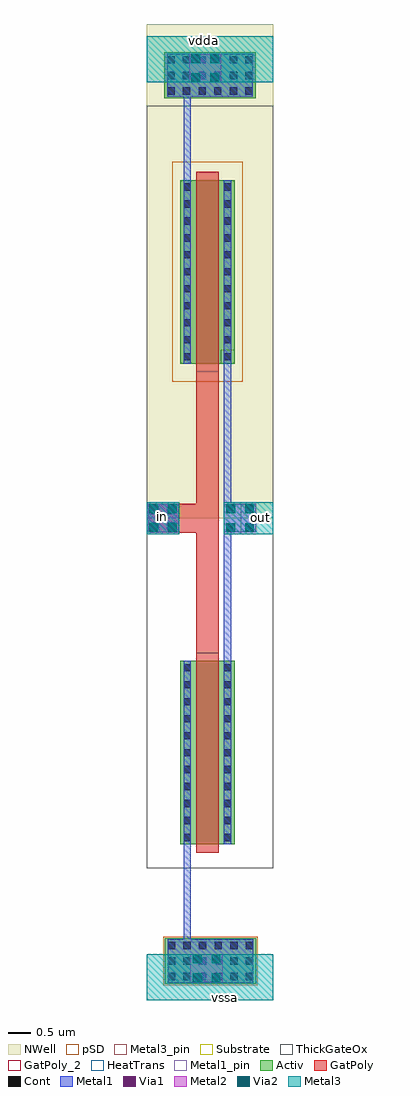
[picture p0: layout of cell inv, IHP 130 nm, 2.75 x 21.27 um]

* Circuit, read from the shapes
.subckt inv in out vdda vssa
XM1 out in vssa vssa sg13_hv_nmos w=4u l=0.5u
XM2 out in vdda vdda sg13_hv_pmos w=4u l=0.5u
.ends

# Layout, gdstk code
import gdstk
lib = gdstk.Library(unit=1e-6, precision=1e-09)
def R(c, l, rs):  # rectangles x0, y0, x1, y1
    for r in rs: c.add(gdstk.rectangle(r[:2], r[2:], *l))
def A(c, l, x, y, w, h, nx, ny, dx, dy):  # array of equal rectangles
    R(c, l, [(x+i*dx, y+j*dy, x+i*dx+w, y+j*dy+h) for i in range(nx) for j in range(ny)])
Activ = (1, 0)
GatPoly = (5, 0)
GatPoly_2 = (5, 2)
Cont = (6, 0)
Metal1 = (8, 0)
Metal1_pin = (8, 2)
Metal2 = (10, 0)
pSD = (14, 0)
Via1 = (19, 0)
Via2 = (29, 0)
Metal3 = (30, 0)
Metal3_pin = (30, 2)
NWell = (31, 0)
Substrate = (40, 0)
ThickGateOx = (44, 0)
HeatTrans = (51, 0)

pmoshv = lib.new_cell('pmosHV')
R(pmoshv, Activ, [(0,0,0.3,0.3), (0,0,1.18,4), (0.88,0,1.18,0.3)])
R(pmoshv, GatPoly, [(0.34,-0.18,0.84,4.18)])
R(pmoshv, GatPoly_2, [(0.34,-0.18,0.84,4.18)])
A(pmoshv, Cont, 0.07, 0.07, 0.16, 0.16, 1, 11, 0, 0.37)
A(pmoshv, Cont, 0.95, 0.07, 0.16, 0.16, 1, 11, 0, 0.37)
R(pmoshv, Metal1, [(0.07,0,0.23,4), (0.95,0,1.11,4)])
R(pmoshv, Metal1_pin, [(0.07,0,0.23,4), (0.95,0,1.11,4)])
R(pmoshv, pSD, [(-0.18,-0.4,1.36,4.4)])
R(pmoshv, NWell, [(-0.62,-0.62,1.8,4.62)])
R(pmoshv, Substrate, [(0.88,0,1.18,0.3)])
R(pmoshv, ThickGateOx, [(-0.62,-0.62,1.8,4.62)])
R(pmoshv, HeatTrans, [(0.34,-0.18,0.84,4.18)])
pmoshv.add(gdstk.Label('pmosHV', (0.59,2), layer=63, texttype=0))
pmoshv.add(gdstk.Label('pmos', (0.59,2), layer=51, texttype=0))

via_stack = lib.new_cell('via_stack')
R(via_stack, GatPoly, [(-0.32,-0.32,0.32,0.32)])
R(via_stack, Cont, [(-0.25,-0.25,-0.09,-0.09), (0.09,-0.25,0.25,-0.09), (-0.25,0.09,-0.09,0.25), (0.09,0.09,0.25,0.25)])
R(via_stack, Metal1, [(-0.35,-0.31,0.35,0.31)])
R(via_stack, Metal2, [(-0.35,-0.305,0.35,0.305)])
R(via_stack, Via1, [(-0.3,-0.3,-0.11,-0.11), (0.11,-0.3,0.3,-0.11), (-0.3,0.11,-0.11,0.3), (0.11,0.11,0.3,0.3)])
R(via_stack, Via2, [(-0.3,-0.3,-0.11,-0.11), (0.11,-0.3,0.3,-0.11), (-0.3,0.11,-0.11,0.3), (0.11,0.11,0.3,0.3)])
R(via_stack, Metal3, [(-0.35,-0.305,0.35,0.305)])

via_stack_24 = lib.new_cell('via_stack$24')
R(via_stack_24, Metal1, [(-0.35,-0.31,0.35,0.31)])
R(via_stack_24, Metal2, [(-0.35,-0.305,0.35,0.305)])
R(via_stack_24, Via1, [(-0.3,-0.3,-0.11,-0.11), (0.11,-0.3,0.3,-0.11), (-0.3,0.11,-0.11,0.3), (0.11,0.11,0.3,0.3)])
R(via_stack_24, Via2, [(-0.3,-0.3,-0.11,-0.11), (0.11,-0.3,0.3,-0.11), (-0.3,0.11,-0.11,0.3), (0.11,0.11,0.3,0.3)])
R(via_stack_24, Metal3, [(-0.35,-0.305,0.35,0.305)])

ntap1 = lib.new_cell('ntap1')
R(ntap1, Activ, [(0,0,2,1)])
A(ntap1, Cont, 0.07, 0.08, 0.16, 0.16, 6, 3, 0.34, 0.34)
R(ntap1, Metal1, [(0.07,0.03,1.93,0.97)])
R(ntap1, Metal1_pin, [(0.07,0.03,1.93,0.97), (0.07,0.08,1.93,0.92)])
R(ntap1, NWell, [(-0.24,-0.24,2.24,1.24), (0,0,2,1)])

ptap1 = lib.new_cell('ptap1')
R(ptap1, Activ, [(0,0,2,1)])
A(ptap1, Cont, 0.07, 0.08, 0.16, 0.16, 6, 3, 0.34, 0.34)
R(ptap1, Metal1, [(0.07,0.03,1.93,0.97), (0.07,0.08,1.93,0.92)])
R(ptap1, Metal1_pin, [(0.07,0.08,1.93,0.92)])
R(ptap1, pSD, [(-0.03,-0.03,2.03,1.03)])
R(ptap1, Substrate, [(0,0,2,1)])

nmoshv = lib.new_cell('nmosHV')
R(nmoshv, Activ, [(0,0,0.3,0.3), (0,0,1.18,4), (0.88,0,1.18,0.3)])
R(nmoshv, GatPoly, [(0.34,-0.18,0.84,4.18)])
R(nmoshv, GatPoly_2, [(0.34,-0.18,0.84,4.18)])
A(nmoshv, Cont, 0.07, 0.07, 0.16, 0.16, 1, 11, 0, 0.37)
A(nmoshv, Cont, 0.95, 0.07, 0.16, 0.16, 1, 11, 0, 0.37)
R(nmoshv, Metal1, [(0.07,0,0.23,4), (0.95,0,1.11,4)])
R(nmoshv, Metal1_pin, [(0.07,0,0.23,4), (0.95,0,1.11,4)])
R(nmoshv, ThickGateOx, [(-0.27,-0.52,1.45,4.52)])
R(nmoshv, HeatTrans, [(0.34,-0.18,0.84,4.18)])
nmoshv.add(gdstk.Label('nmosHV', (0.59,2), layer=63, texttype=0))
nmoshv.add(gdstk.Label('nmosHV', (0.59,2), layer=51, texttype=0))

inv = lib.new_cell('inv')
R(inv, GatPoly, [(1.07,5.48,1.57,14.495), (0.03,9.68,1.07,10.32)])
R(inv, Metal1, [(0.8,-0.12,0.96,5.555), (1.68,2.89,1.84,17.37), (0.8,14.37,0.96,20.12)])
R(inv, Metal3, [(0,-0.5,2.75,0.5), (0,9.65,0.7,10.35), (0,19.5,2.75,20.5)])
R(inv, Metal3_pin, [(0,-0.5,2.75,0.5), (0,9.65,0.7,10.35), (2.05,9.65,2.75,10.35), (0,19.5,2.75,20.5)])
R(inv, NWell, [(0,10,2.75,20.77)])
R(inv, ThickGateOx, [(0,2.37,2.75,18.99)])
inv.add(gdstk.FlexPath([(1.68,10),(2.75,10),(2.75,10)], 0.7, ends="flush", simple_path=True, layer=30, datatype=0))  # Metal3
inv.add(gdstk.Reference(pmoshv, (0.73,13.37)))
inv.add(gdstk.Reference(via_stack, (0.35,10)))
inv.add(gdstk.Reference(via_stack_24, (2.03,10)))
inv.add(gdstk.Reference(via_stack_24, (1.27,19.81)))
inv.add(gdstk.Reference(via_stack_24, (1.3,0.19)))
r = gdstk.Reference(ntap1, (0.375,19.15)); r.repetition = gdstk.Repetition(1, 1, v1=(0,0), v2=(0,0)); inv.add(r)
r = gdstk.Reference(ptap1, (0.385,-0.15)); r.repetition = gdstk.Repetition(1, 1, v1=(0,0), v2=(0,0)); inv.add(r)
inv.add(gdstk.Reference(nmoshv, (0.73,2.89)))
inv.add(gdstk.Label('vdda', (1.234,20.419), layer=30, texttype=25))
inv.add(gdstk.Label('vssa', (1.698,-0.452), layer=30, texttype=25))
inv.add(gdstk.Label('out', (2.465,10.02), layer=30, texttype=25))
inv.add(gdstk.Label('in', (0.35,10.04), layer=30, texttype=25))

lib.write_gds('inv.gds')
